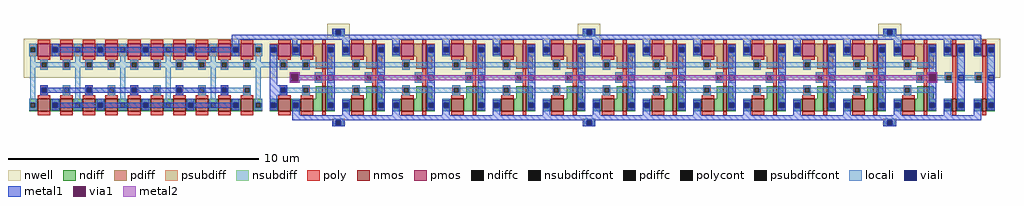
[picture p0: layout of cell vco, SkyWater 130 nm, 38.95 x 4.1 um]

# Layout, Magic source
magic
tech sky130A
<< nwell >>
rect 210 295 300 355
rect 1210 295 1300 355
rect 2410 295 2500 355
rect -1000 290 2895 295
rect -1000 160 70 290
rect 270 230 300 290
rect 470 230 500 290
rect 670 230 700 290
rect 870 230 900 290
rect 1070 230 1100 290
rect 1270 230 1300 290
rect 1470 230 1500 290
rect 1670 230 1700 290
rect 1870 230 1900 290
rect 2070 230 2100 290
rect 2270 230 2300 290
rect 2470 230 2500 290
rect 2670 230 2700 290
rect 2790 230 2820 290
rect -1000 140 95 160
<< nmos >>
rect -945 5 -895 55
rect -855 5 -805 55
rect -765 5 -715 55
rect -675 5 -625 55
rect -585 5 -535 55
rect -495 5 -445 55
rect -405 5 -355 55
rect -315 5 -265 55
rect -225 5 -175 55
rect -135 5 -85 55
rect 15 5 65 55
<< pmos >>
rect -945 225 -895 275
rect -855 225 -805 275
rect -765 225 -715 275
rect -675 225 -625 275
rect -585 225 -535 275
rect -495 225 -445 275
rect -405 225 -355 275
rect -315 225 -265 275
rect -225 225 -175 275
rect -135 225 -85 275
rect 15 225 65 275
<< ndiff >>
rect -980 40 -945 55
rect -980 20 -975 40
rect -955 20 -945 40
rect -980 5 -945 20
rect -895 40 -855 55
rect -895 20 -885 40
rect -865 20 -855 40
rect -895 5 -855 20
rect -805 40 -765 55
rect -805 20 -795 40
rect -775 20 -765 40
rect -805 5 -765 20
rect -715 40 -675 55
rect -715 20 -705 40
rect -685 20 -675 40
rect -715 5 -675 20
rect -625 40 -585 55
rect -625 20 -615 40
rect -595 20 -585 40
rect -625 5 -585 20
rect -535 40 -495 55
rect -535 20 -525 40
rect -505 20 -495 40
rect -535 5 -495 20
rect -445 40 -405 55
rect -445 20 -435 40
rect -415 20 -405 40
rect -445 5 -405 20
rect -355 40 -315 55
rect -355 20 -345 40
rect -325 20 -315 40
rect -355 5 -315 20
rect -265 40 -225 55
rect -265 20 -255 40
rect -235 20 -225 40
rect -265 5 -225 20
rect -175 40 -135 55
rect -175 20 -165 40
rect -145 20 -135 40
rect -175 5 -135 20
rect -85 40 -50 55
rect -85 20 -75 40
rect -55 20 -50 40
rect -85 5 -50 20
rect -20 40 15 55
rect -20 20 -15 40
rect 5 20 15 40
rect -20 5 15 20
rect 65 5 70 55
<< pdiff >>
rect -980 260 -945 275
rect -980 240 -975 260
rect -955 240 -945 260
rect -980 225 -945 240
rect -895 260 -855 275
rect -895 240 -885 260
rect -865 240 -855 260
rect -895 225 -855 240
rect -805 260 -765 275
rect -805 240 -795 260
rect -775 240 -765 260
rect -805 225 -765 240
rect -715 260 -675 275
rect -715 240 -705 260
rect -685 240 -675 260
rect -715 225 -675 240
rect -625 260 -585 275
rect -625 240 -615 260
rect -595 240 -585 260
rect -625 225 -585 240
rect -535 260 -495 275
rect -535 240 -525 260
rect -505 240 -495 260
rect -535 225 -495 240
rect -445 260 -405 275
rect -445 240 -435 260
rect -415 240 -405 260
rect -445 225 -405 240
rect -355 260 -315 275
rect -355 240 -345 260
rect -325 240 -315 260
rect -355 225 -315 240
rect -265 260 -225 275
rect -265 240 -255 260
rect -235 240 -225 260
rect -265 225 -225 240
rect -175 260 -135 275
rect -175 240 -165 260
rect -145 240 -135 260
rect -175 225 -135 240
rect -85 260 -50 275
rect -85 240 -75 260
rect -55 240 -50 260
rect -85 225 -50 240
rect -20 260 15 275
rect -20 240 -15 260
rect 5 240 15 260
rect -20 225 15 240
rect 65 225 70 275
<< ndiffc >>
rect -975 20 -955 40
rect -885 20 -865 40
rect -795 20 -775 40
rect -705 20 -685 40
rect -615 20 -595 40
rect -525 20 -505 40
rect -435 20 -415 40
rect -345 20 -325 40
rect -255 20 -235 40
rect -165 20 -145 40
rect -75 20 -55 40
rect -15 20 5 40
<< pdiffc >>
rect -975 240 -955 260
rect -885 240 -865 260
rect -795 240 -775 260
rect -705 240 -685 260
rect -615 240 -595 260
rect -525 240 -505 260
rect -435 240 -415 260
rect -345 240 -325 260
rect -255 240 -235 260
rect -165 240 -145 260
rect -75 240 -55 260
rect -15 240 5 260
<< psubdiff >>
rect 230 -30 280 -25
rect 230 -50 245 -30
rect 265 -50 280 -30
rect 230 -55 280 -50
rect 1230 -30 1280 -25
rect 1230 -50 1245 -30
rect 1265 -50 1280 -30
rect 1230 -55 1280 -50
rect 2430 -30 2480 -25
rect 2430 -50 2445 -30
rect 2465 -50 2480 -30
rect 2430 -55 2480 -50
<< nsubdiff >>
rect 230 330 280 335
rect 230 310 245 330
rect 265 310 280 330
rect 230 305 280 310
rect 1230 330 1280 335
rect 1230 310 1245 330
rect 1265 310 1280 330
rect 1230 305 1280 310
rect 2430 330 2480 335
rect 2430 310 2445 330
rect 2465 310 2480 330
rect 2430 305 2480 310
<< psubdiffcont >>
rect 245 -50 265 -30
rect 1245 -50 1265 -30
rect 2445 -50 2465 -30
<< nsubdiffcont >>
rect 245 310 265 330
rect 1245 310 1265 330
rect 2445 310 2465 330
<< poly >>
rect -945 275 -895 290
rect -855 275 -805 290
rect -765 275 -715 290
rect -675 275 -625 290
rect -585 275 -535 290
rect -495 275 -445 290
rect -405 275 -355 290
rect -315 275 -265 290
rect -225 275 -175 290
rect -135 275 -85 290
rect 15 275 65 290
rect -945 210 -895 225
rect -855 210 -805 225
rect -765 210 -715 225
rect -675 210 -625 225
rect -585 210 -535 225
rect -495 210 -445 225
rect -405 210 -355 225
rect -315 210 -265 225
rect -225 210 -175 225
rect -135 210 -85 225
rect 15 210 65 225
rect -935 200 -905 210
rect -935 180 -930 200
rect -910 180 -905 200
rect -935 170 -905 180
rect -845 200 -815 210
rect -845 180 -840 200
rect -820 180 -815 200
rect -845 170 -815 180
rect -755 200 -725 210
rect -755 180 -750 200
rect -730 180 -725 200
rect -755 170 -725 180
rect -665 200 -635 210
rect -665 180 -660 200
rect -640 180 -635 200
rect -665 170 -635 180
rect -575 200 -545 210
rect -575 180 -570 200
rect -550 180 -545 200
rect -575 170 -545 180
rect -485 200 -455 210
rect -485 180 -480 200
rect -460 180 -455 200
rect -485 170 -455 180
rect -395 200 -365 210
rect -395 180 -390 200
rect -370 180 -365 200
rect -395 170 -365 180
rect -305 200 -275 210
rect -305 180 -300 200
rect -280 180 -275 200
rect -305 170 -275 180
rect -215 200 -185 210
rect -215 180 -210 200
rect -190 180 -185 200
rect -215 170 -185 180
rect -125 200 -95 210
rect -125 180 -120 200
rect -100 180 -95 200
rect -125 170 -95 180
rect 20 200 50 210
rect 20 180 25 200
rect 45 180 50 200
rect 20 170 50 180
rect -935 100 -905 110
rect -935 80 -930 100
rect -910 80 -905 100
rect -935 70 -905 80
rect -845 100 -815 110
rect -845 80 -840 100
rect -820 80 -815 100
rect -845 70 -815 80
rect -755 100 -725 110
rect -755 80 -750 100
rect -730 80 -725 100
rect -755 70 -725 80
rect -665 100 -635 110
rect -665 80 -660 100
rect -640 80 -635 100
rect -665 70 -635 80
rect -575 100 -545 110
rect -575 80 -570 100
rect -550 80 -545 100
rect -575 70 -545 80
rect -485 100 -455 110
rect -485 80 -480 100
rect -460 80 -455 100
rect -485 70 -455 80
rect -395 100 -365 110
rect -395 80 -390 100
rect -370 80 -365 100
rect -395 70 -365 80
rect -305 100 -275 110
rect -305 80 -300 100
rect -280 80 -275 100
rect -305 70 -275 80
rect -215 100 -185 110
rect -215 80 -210 100
rect -190 80 -185 100
rect -215 70 -185 80
rect -125 100 -95 110
rect -125 80 -120 100
rect -100 80 -95 100
rect -125 70 -95 80
rect 20 100 50 110
rect 20 80 25 100
rect 45 80 50 100
rect 20 70 50 80
rect -945 55 -895 70
rect -855 55 -805 70
rect -765 55 -715 70
rect -675 55 -625 70
rect -585 55 -535 70
rect -495 55 -445 70
rect -405 55 -355 70
rect -315 55 -265 70
rect -225 55 -175 70
rect -135 55 -85 70
rect 15 55 65 70
rect -945 -10 -895 5
rect -855 -10 -805 5
rect -765 -10 -715 5
rect -675 -10 -625 5
rect -585 -10 -535 5
rect -495 -10 -445 5
rect -405 -10 -355 5
rect -315 -10 -265 5
rect -225 -10 -175 5
rect -135 -10 -85 5
rect 15 -10 65 5
<< polycont >>
rect -930 180 -910 200
rect -840 180 -820 200
rect -750 180 -730 200
rect -660 180 -640 200
rect -570 180 -550 200
rect -480 180 -460 200
rect -390 180 -370 200
rect -300 180 -280 200
rect -210 180 -190 200
rect -120 180 -100 200
rect 25 180 45 200
rect -930 80 -910 100
rect -840 80 -820 100
rect -750 80 -730 100
rect -660 80 -640 100
rect -570 80 -550 100
rect -480 80 -460 100
rect -390 80 -370 100
rect -300 80 -280 100
rect -210 80 -190 100
rect -120 80 -100 100
rect 25 80 45 100
<< locali >>
rect 235 330 275 335
rect 235 310 245 330
rect 265 310 275 330
rect 235 305 275 310
rect 1235 330 1275 335
rect 1235 310 1245 330
rect 1265 310 1275 330
rect 1235 305 1275 310
rect 2435 330 2475 335
rect 2435 310 2445 330
rect 2465 310 2475 330
rect 2435 305 2475 310
rect -980 260 -950 275
rect -980 240 -975 260
rect -955 240 -950 260
rect -980 225 -950 240
rect -890 260 -860 275
rect -890 240 -885 260
rect -865 240 -860 260
rect -890 225 -860 240
rect -800 260 -770 275
rect -800 240 -795 260
rect -775 240 -770 260
rect -800 225 -770 240
rect -710 260 -680 275
rect -710 240 -705 260
rect -685 240 -680 260
rect -710 225 -680 240
rect -620 260 -590 275
rect -620 240 -615 260
rect -595 240 -590 260
rect -620 225 -590 240
rect -530 260 -500 275
rect -530 240 -525 260
rect -505 240 -500 260
rect -530 225 -500 240
rect -440 260 -410 275
rect -440 240 -435 260
rect -415 240 -410 260
rect -440 225 -410 240
rect -350 260 -320 275
rect -350 240 -345 260
rect -325 240 -320 260
rect -350 225 -320 240
rect -260 260 -230 275
rect -260 240 -255 260
rect -235 240 -230 260
rect -260 225 -230 240
rect -170 260 -140 275
rect -170 240 -165 260
rect -145 240 -140 260
rect -170 225 -140 240
rect -80 260 -50 275
rect -80 240 -75 260
rect -55 240 -50 260
rect -80 225 -50 240
rect -20 260 10 270
rect -20 240 -15 260
rect 5 240 10 260
rect -20 225 10 240
rect -975 200 -955 225
rect -935 200 -905 210
rect -845 200 -815 210
rect -795 200 -775 225
rect -755 200 -725 210
rect -665 200 -635 210
rect -615 200 -595 225
rect -575 200 -545 210
rect -485 200 -455 210
rect -435 200 -415 225
rect -395 200 -365 210
rect -305 200 -275 210
rect -255 200 -235 225
rect -215 200 -185 210
rect -125 200 -95 210
rect -75 200 -55 225
rect 20 200 50 210
rect -975 180 -930 200
rect -910 180 -840 200
rect -820 180 -750 200
rect -730 180 -660 200
rect -640 180 -570 200
rect -550 180 -480 200
rect -460 180 -390 200
rect -370 180 -300 200
rect -280 180 -210 200
rect -190 180 -120 200
rect -100 180 25 200
rect 45 180 70 200
rect 240 180 275 200
rect 440 180 475 200
rect 640 180 675 200
rect 840 180 875 200
rect 1040 180 1075 200
rect 1240 180 1275 200
rect 1440 180 1475 200
rect 1640 180 1675 200
rect 1840 180 1875 200
rect 2040 180 2075 200
rect 2240 180 2275 200
rect 2440 180 2475 200
rect -975 55 -955 180
rect -935 170 -905 180
rect -845 170 -815 180
rect -935 100 -905 110
rect -845 100 -815 110
rect -935 80 -930 100
rect -910 80 -840 100
rect -820 80 -815 100
rect -935 70 -905 80
rect -845 70 -815 80
rect -795 55 -775 180
rect -755 170 -725 180
rect -665 170 -635 180
rect -755 100 -725 110
rect -665 100 -635 110
rect -755 80 -750 100
rect -730 80 -660 100
rect -640 80 -635 100
rect -755 70 -725 80
rect -665 70 -635 80
rect -615 55 -595 180
rect -575 170 -545 180
rect -485 170 -455 180
rect -575 100 -545 110
rect -485 100 -455 110
rect -575 80 -570 100
rect -550 80 -480 100
rect -460 80 -455 100
rect -575 70 -545 80
rect -485 70 -455 80
rect -435 55 -415 180
rect -395 170 -365 180
rect -305 170 -275 180
rect -395 100 -365 110
rect -305 100 -275 110
rect -395 80 -390 100
rect -370 80 -300 100
rect -280 80 -275 100
rect -395 70 -365 80
rect -305 70 -275 80
rect -255 55 -235 180
rect -215 170 -185 180
rect -125 170 -95 180
rect -215 100 -185 110
rect -125 100 -95 110
rect -215 80 -210 100
rect -190 80 -120 100
rect -100 80 -95 100
rect -215 70 -185 80
rect -125 70 -95 80
rect -75 55 -55 180
rect 20 170 50 180
rect 65 150 95 160
rect 65 130 70 150
rect 90 130 95 150
rect 240 130 275 150
rect 440 130 475 150
rect 640 130 675 150
rect 840 130 875 150
rect 1040 130 1075 150
rect 1240 130 1275 150
rect 1440 130 1475 150
rect 1640 130 1675 150
rect 1840 130 1875 150
rect 2040 130 2075 150
rect 2240 130 2275 150
rect 2440 130 2475 150
rect 2635 130 2670 150
rect 2755 130 2790 150
rect 65 120 95 130
rect 20 100 50 110
rect 20 80 25 100
rect 45 80 70 100
rect 240 80 275 100
rect 440 80 475 100
rect 640 80 675 100
rect 840 80 875 100
rect 1040 80 1075 100
rect 1240 80 1275 100
rect 1440 80 1475 100
rect 1640 80 1675 100
rect 1840 80 1875 100
rect 2040 80 2075 100
rect 2240 80 2275 100
rect 2440 80 2475 100
rect 20 70 50 80
rect -980 40 -950 55
rect -980 20 -975 40
rect -955 20 -950 40
rect -980 10 -950 20
rect -890 40 -860 55
rect -890 20 -885 40
rect -865 20 -860 40
rect -890 10 -860 20
rect -800 40 -770 55
rect -800 20 -795 40
rect -775 20 -770 40
rect -800 10 -770 20
rect -710 40 -680 55
rect -710 20 -705 40
rect -685 20 -680 40
rect -710 10 -680 20
rect -620 40 -590 55
rect -620 20 -615 40
rect -595 20 -590 40
rect -620 10 -590 20
rect -530 40 -500 55
rect -530 20 -525 40
rect -505 20 -500 40
rect -530 10 -500 20
rect -440 40 -410 55
rect -440 20 -435 40
rect -415 20 -410 40
rect -440 10 -410 20
rect -350 40 -320 55
rect -350 20 -345 40
rect -325 20 -320 40
rect -350 10 -320 20
rect -260 40 -230 55
rect -260 20 -255 40
rect -235 20 -230 40
rect -260 10 -230 20
rect -170 40 -140 55
rect -170 20 -165 40
rect -145 20 -140 40
rect -170 10 -140 20
rect -80 40 -50 55
rect -80 20 -75 40
rect -55 20 -50 40
rect -80 10 -50 20
rect -20 40 10 55
rect -20 20 -15 40
rect 5 20 10 40
rect -20 10 10 20
rect 235 -30 275 -25
rect 235 -50 245 -30
rect 265 -50 275 -30
rect 235 -55 275 -50
rect 1235 -30 1275 -25
rect 1235 -50 1245 -30
rect 1265 -50 1275 -30
rect 1235 -55 1275 -50
rect 2435 -30 2475 -25
rect 2435 -50 2445 -30
rect 2465 -50 2475 -30
rect 2435 -55 2475 -50
<< viali >>
rect 245 310 265 330
rect 1245 310 1265 330
rect 2445 310 2465 330
rect -885 240 -865 260
rect -705 240 -685 260
rect -525 240 -505 260
rect -345 240 -325 260
rect -165 240 -145 260
rect -15 240 5 260
rect 75 240 95 260
rect 275 240 295 260
rect 475 240 495 260
rect 675 240 695 260
rect 875 240 895 260
rect 1075 240 1095 260
rect 1275 240 1295 260
rect 1475 240 1495 260
rect 1675 240 1695 260
rect 1875 240 1895 260
rect 2075 240 2095 260
rect 2275 240 2295 260
rect 2475 240 2495 260
rect 2675 240 2695 260
rect 2795 240 2815 260
rect -930 80 -910 100
rect -750 80 -730 100
rect -570 80 -550 100
rect -390 80 -370 100
rect -210 80 -190 100
rect 70 130 90 150
rect 25 80 45 100
rect -885 20 -865 40
rect -705 20 -685 40
rect -525 20 -505 40
rect -345 20 -325 40
rect -165 20 -145 40
rect -15 20 5 40
rect 75 20 95 40
rect 275 20 295 40
rect 475 20 495 40
rect 675 20 695 40
rect 875 20 895 40
rect 1075 20 1095 40
rect 1275 20 1295 40
rect 1475 20 1495 40
rect 1675 20 1695 40
rect 1875 20 1895 40
rect 2075 20 2095 40
rect 2275 20 2295 40
rect 2475 20 2495 40
rect 2675 20 2695 40
rect 2795 20 2815 40
rect 245 -50 265 -30
rect 1245 -50 1265 -30
rect 2445 -50 2465 -30
<< metal1 >>
rect 230 330 280 335
rect 230 310 245 330
rect 265 310 280 330
rect 1230 330 1280 335
rect 1230 310 1245 330
rect 1265 310 1280 330
rect 2430 330 2480 335
rect 2430 310 2445 330
rect 2465 310 2480 330
rect -170 290 2820 310
rect -890 260 -860 275
rect -710 260 -680 275
rect -530 260 -500 275
rect -350 260 -320 275
rect -170 260 -140 290
rect 70 270 90 290
rect -890 240 -885 260
rect -865 240 -705 260
rect -685 240 -525 260
rect -505 240 -345 260
rect -325 240 -165 260
rect -145 240 -140 260
rect -890 225 -860 240
rect -710 225 -680 240
rect -530 225 -500 240
rect -350 225 -320 240
rect -170 225 -140 240
rect -20 260 10 270
rect -20 240 -15 260
rect 5 240 10 260
rect -20 110 10 240
rect 70 260 100 270
rect 70 240 75 260
rect 95 240 100 260
rect 70 230 100 240
rect 270 260 300 290
rect 270 240 275 260
rect 295 240 300 260
rect 270 230 300 240
rect 470 260 500 290
rect 470 240 475 260
rect 495 240 500 260
rect 470 230 500 240
rect 670 260 700 290
rect 670 240 675 260
rect 695 240 700 260
rect 670 230 700 240
rect 870 260 900 290
rect 870 240 875 260
rect 895 240 900 260
rect 870 230 900 240
rect 1070 260 1100 290
rect 1070 240 1075 260
rect 1095 240 1100 260
rect 1070 230 1100 240
rect 1270 260 1300 290
rect 1270 240 1275 260
rect 1295 240 1300 260
rect 1270 230 1300 240
rect 1470 260 1500 290
rect 1470 240 1475 260
rect 1495 240 1500 260
rect 1470 230 1500 240
rect 1670 260 1700 290
rect 1670 240 1675 260
rect 1695 240 1700 260
rect 1670 230 1700 240
rect 1870 260 1900 290
rect 1870 240 1875 260
rect 1895 240 1900 260
rect 1870 230 1900 240
rect 2070 260 2100 290
rect 2070 240 2075 260
rect 2095 240 2100 260
rect 2070 230 2100 240
rect 2270 260 2300 290
rect 2270 240 2275 260
rect 2295 240 2300 260
rect 2270 230 2300 240
rect 2470 260 2500 290
rect 2470 240 2475 260
rect 2495 240 2500 260
rect 2470 230 2500 240
rect 2670 260 2700 290
rect 2670 240 2675 260
rect 2695 240 2700 260
rect 2670 230 2700 240
rect 2790 260 2820 290
rect 2790 240 2795 260
rect 2815 240 2820 260
rect 2790 230 2820 240
rect 65 155 95 160
rect 65 120 95 125
rect -935 100 -905 110
rect -755 100 -725 110
rect -575 100 -545 110
rect -395 100 -365 110
rect -215 100 -185 110
rect -935 80 -930 100
rect -910 80 -750 100
rect -730 80 -570 100
rect -550 80 -390 100
rect -370 80 -210 100
rect -190 80 -185 100
rect -935 70 -905 80
rect -755 70 -725 80
rect -575 70 -545 80
rect -395 70 -365 80
rect -215 70 -185 80
rect -20 100 50 110
rect -20 80 25 100
rect 45 80 50 100
rect -20 70 50 80
rect -890 40 -860 55
rect -710 40 -680 55
rect -530 40 -500 55
rect -350 40 -320 55
rect -170 40 -140 55
rect -890 20 -885 40
rect -865 20 -705 40
rect -685 20 -525 40
rect -505 20 -345 40
rect -325 20 -165 40
rect -145 20 -140 40
rect -890 10 -860 20
rect -710 10 -680 20
rect -530 10 -500 20
rect -350 10 -320 20
rect -170 10 -140 20
rect -20 40 10 70
rect -20 20 -15 40
rect 5 20 10 40
rect -20 10 10 20
rect 70 40 100 50
rect 70 20 75 40
rect 95 20 100 40
rect 70 -10 100 20
rect 270 40 300 50
rect 270 20 275 40
rect 295 20 300 40
rect 270 -10 300 20
rect 470 40 500 50
rect 470 20 475 40
rect 495 20 500 40
rect 470 -10 500 20
rect 670 40 700 50
rect 670 20 675 40
rect 695 20 700 40
rect 670 -10 700 20
rect 870 40 900 50
rect 870 20 875 40
rect 895 20 900 40
rect 870 -10 900 20
rect 1070 40 1100 50
rect 1070 20 1075 40
rect 1095 20 1100 40
rect 1070 -10 1100 20
rect 1270 40 1300 50
rect 1270 20 1275 40
rect 1295 20 1300 40
rect 1270 -10 1300 20
rect 1470 40 1500 50
rect 1470 20 1475 40
rect 1495 20 1500 40
rect 1470 -10 1500 20
rect 1670 40 1700 50
rect 1670 20 1675 40
rect 1695 20 1700 40
rect 1670 -10 1700 20
rect 1870 40 1900 50
rect 1870 20 1875 40
rect 1895 20 1900 40
rect 1870 -10 1900 20
rect 2070 40 2100 50
rect 2070 20 2075 40
rect 2095 20 2100 40
rect 2070 -10 2100 20
rect 2270 40 2300 50
rect 2270 20 2275 40
rect 2295 20 2300 40
rect 2270 -10 2300 20
rect 2470 40 2500 50
rect 2470 20 2475 40
rect 2495 20 2500 40
rect 2470 -10 2500 20
rect 2670 40 2700 50
rect 2670 20 2675 40
rect 2695 20 2700 40
rect 2670 -10 2700 20
rect 2790 40 2820 50
rect 2790 20 2795 40
rect 2815 20 2820 40
rect 2790 -10 2820 20
rect 70 -30 2820 -10
rect 230 -50 245 -30
rect 265 -50 280 -30
rect 230 -55 280 -50
rect 1230 -50 1245 -30
rect 1265 -50 1280 -30
rect 1230 -55 1280 -50
rect 2430 -50 2445 -30
rect 2465 -50 2480 -30
rect 2430 -55 2480 -50
<< via1 >>
rect 65 150 95 155
rect 65 130 70 150
rect 70 130 90 150
rect 90 130 95 150
rect 65 125 95 130
rect 2610 125 2640 155
<< metal2 >>
rect 60 155 100 160
rect 60 125 65 155
rect 95 150 100 155
rect 2605 155 2645 160
rect 2605 150 2610 155
rect 95 130 2610 150
rect 95 125 100 130
rect 60 120 100 125
rect 2605 125 2610 130
rect 2640 125 2645 155
rect 2605 120 2645 125
use csi  csi_0
transform 1 0 175 0 1 0
box -125 -10 85 295
use csi  csi_1
transform 1 0 375 0 1 0
box -125 -10 85 295
use csi  csi_2
transform 1 0 575 0 1 0
box -125 -10 85 295
use csi  csi_3
transform 1 0 775 0 1 0
box -125 -10 85 295
use csi  csi_4
transform 1 0 975 0 1 0
box -125 -10 85 295
use csi  csi_5
transform 1 0 1175 0 1 0
box -125 -10 85 295
use csi  csi_6
transform 1 0 1375 0 1 0
box -125 -10 85 295
use csi  csi_7
transform 1 0 1575 0 1 0
box -125 -10 85 295
use csi  csi_8
transform 1 0 1775 0 1 0
box -125 -10 85 295
use csi  csi_9
transform 1 0 1975 0 1 0
box -125 -10 85 295
use csi  csi_10
transform 1 0 2175 0 1 0
box -125 -10 85 295
use csi  csi_11
transform 1 0 2375 0 1 0
box -125 -10 85 295
use csi  csi_12
transform 1 0 2575 0 1 0
box -125 -10 85 295
use inv  inv_0
transform 1 0 2690 0 1 0
box -40 -10 85 295
use inv  inv_2
transform 1 0 2810 0 1 0
box -40 -10 85 295
<< end >>

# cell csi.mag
magic
tech sky130A
<< nwell >>
rect -125 140 85 295
<< nmos >>
rect -70 5 -20 55
rect 15 5 30 105
<< pmos >>
rect -70 225 -20 275
rect 15 175 30 275
<< ndiff >>
rect -10 55 15 105
rect -105 40 -70 55
rect -105 20 -100 40
rect -80 20 -70 40
rect -105 5 -70 20
rect -20 5 15 55
rect 30 55 55 105
rect 30 40 65 55
rect 30 20 40 40
rect 60 20 65 40
rect 30 5 65 20
<< pdiff >>
rect -105 260 -70 275
rect -105 240 -100 260
rect -80 240 -70 260
rect -105 225 -70 240
rect -20 225 15 275
rect -10 175 15 225
rect 30 260 65 275
rect 30 240 40 260
rect 60 240 65 260
rect 30 225 65 240
rect 30 175 55 225
<< ndiffc >>
rect -100 20 -80 40
rect 40 20 60 40
<< pdiffc >>
rect -100 240 -80 260
rect 40 240 60 260
<< poly >>
rect -70 275 -20 290
rect 15 275 30 290
rect -70 210 -20 225
rect -65 200 -35 210
rect -65 180 -60 200
rect -40 180 -35 200
rect -65 170 -35 180
rect 15 160 30 175
rect -15 150 30 160
rect -15 130 -10 150
rect 10 130 30 150
rect -15 120 30 130
rect -65 100 -35 110
rect 15 105 30 120
rect -65 80 -60 100
rect -40 80 -35 100
rect -65 70 -35 80
rect -70 55 -20 70
rect -70 -10 -20 5
rect 15 -10 30 5
<< polycont >>
rect -60 180 -40 200
rect -10 130 10 150
rect -60 80 -40 100
<< locali >>
rect -105 260 -75 275
rect -105 240 -100 260
rect -80 240 -75 260
rect -105 225 -75 240
rect 35 260 65 270
rect 35 240 40 260
rect 60 240 65 260
rect 35 225 65 240
rect -65 200 -35 210
rect -105 180 -60 200
rect -40 180 65 200
rect -65 170 -35 180
rect -15 150 15 160
rect -105 130 -10 150
rect 10 130 15 150
rect -15 120 15 130
rect 35 150 65 160
rect 35 130 40 150
rect 60 130 65 150
rect 35 120 65 130
rect -65 100 -35 110
rect -105 80 -60 100
rect -40 80 65 100
rect -65 70 -35 80
rect -105 40 -75 55
rect -105 20 -100 40
rect -80 20 -75 40
rect -105 5 -75 20
rect 35 40 65 55
rect 35 20 40 40
rect 60 20 65 40
rect 35 10 65 20
<< viali >>
rect 40 240 60 260
rect 40 130 60 150
rect 40 20 60 40
<< metal1 >>
rect 35 260 65 270
rect 35 240 40 260
rect 60 240 65 260
rect 35 150 65 240
rect 35 130 40 150
rect 60 130 65 150
rect 35 40 65 130
rect 35 20 40 40
rect 60 20 65 40
rect 35 10 65 20
<< end >>

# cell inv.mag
magic
tech sky130A
<< nwell >>
rect -40 140 85 295
<< nmos >>
rect 15 5 30 55
<< pmos >>
rect 15 225 30 275
<< ndiff >>
rect -20 40 15 55
rect -20 20 -15 40
rect 5 20 15 40
rect -20 5 15 20
rect 30 40 65 55
rect 30 20 40 40
rect 60 20 65 40
rect 30 5 65 20
<< pdiff >>
rect -20 260 15 275
rect -20 240 -15 260
rect 5 240 15 260
rect -20 225 15 240
rect 30 260 65 275
rect 30 240 40 260
rect 60 240 65 260
rect 30 225 65 240
<< ndiffc >>
rect -15 20 5 40
rect 40 20 60 40
<< pdiffc >>
rect -15 240 5 260
rect 40 240 60 260
<< poly >>
rect 15 275 30 290
rect 15 160 30 225
rect -15 150 30 160
rect -15 130 -10 150
rect 10 130 30 150
rect -15 120 30 130
rect 15 55 30 120
rect 15 -10 30 5
<< polycont >>
rect -10 130 10 150
<< locali >>
rect -20 260 10 275
rect -20 240 -15 260
rect 5 240 10 260
rect -20 225 10 240
rect 35 260 65 270
rect 35 240 40 260
rect 60 240 65 260
rect 35 225 65 240
rect -15 150 15 160
rect -20 130 -10 150
rect 10 130 15 150
rect -15 120 15 130
rect 35 150 65 160
rect 35 130 40 150
rect 60 130 65 150
rect 35 120 65 130
rect -20 40 10 55
rect -20 20 -15 40
rect 5 20 10 40
rect -20 5 10 20
rect 35 40 65 55
rect 35 20 40 40
rect 60 20 65 40
rect 35 10 65 20
<< viali >>
rect 40 240 60 260
rect 40 130 60 150
rect 40 20 60 40
<< metal1 >>
rect 35 260 65 270
rect 35 240 40 260
rect 60 240 65 260
rect 35 150 65 240
rect 35 130 40 150
rect 60 130 65 150
rect 35 40 65 130
rect 35 20 40 40
rect 60 20 65 40
rect 35 10 65 20
<< end >>
